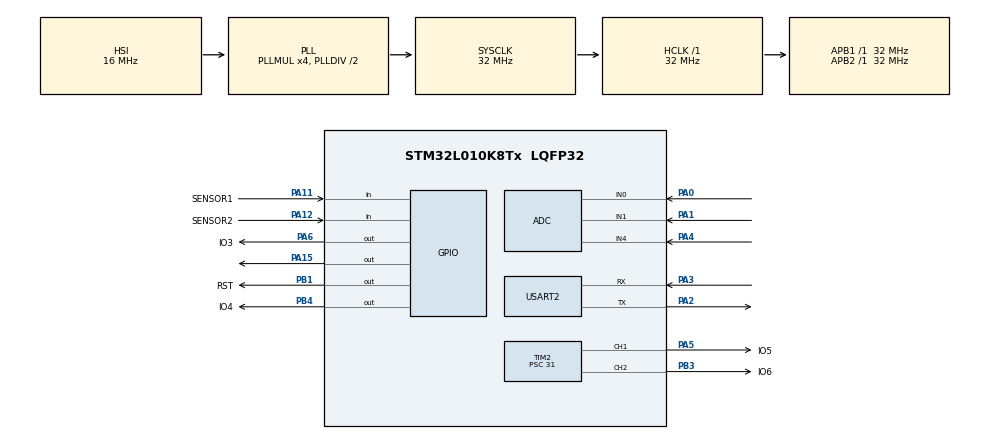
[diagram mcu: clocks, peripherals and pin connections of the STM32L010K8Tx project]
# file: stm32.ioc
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ADC.ContinuousConvMode=DISABLE
ADC.SamplingTime=ADC_SAMPLETIME_160CYCLES_5
Mcu.Family=STM32L0
Mcu.Name=STM32L010K8Tx
Mcu.Package=LQFP32
NVIC.RTC_IRQn=true\:0\:0\:false\:false\:true\:true\:true\:true
NVIC.USART2_IRQn=true\:0\:0\:false\:false\:true\:true\:true\:true
PA0.Mode=IN0
PA0.Signal=ADC_IN0
PA1.Mode=IN1
PA1.Signal=ADC_IN1
PA11.GPIO_Label=SENSOR1
PA11.GPIO_PuPd=GPIO_PULLDOWN
PA11.Signal=GPIO_Input
PA12.GPIO_Label=SENSOR2
PA12.GPIO_PuPd=GPIO_PULLDOWN
PA12.Signal=GPIO_Input
PA13.Mode=Serial_Wire
PA13.Signal=SYS_SWDIO
PA14.Mode=Serial_Wire
PA14.Signal=SYS_SWCLK
PA15.GPIO_PuPd=GPIO_PULLDOWN
PA15.Signal=GPIO_Output
PA2.Mode=Asynchronous
PA2.Signal=USART2_TX
PA3.Mode=Asynchronous
PA3.Signal=USART2_RX
PA4.Mode=IN4
PA4.Signal=ADC_IN4
PA5.GPIO_Label=IO5
PA5.GPIO_PuPd=GPIO_PULLDOWN
PA5.Signal=S_TIM2_CH1
PA6.GPIO_Label=IO3
PA6.GPIO_PuPd=GPIO_PULLDOWN
PA6.PinState=GPIO_PIN_RESET
PA6.Signal=GPIO_Output
PB0.Mode=VREFINT_ADC_PB0
PB0.Signal=SYS_VREF_OUT_PB0
PB1.GPIO_Label=RST
PB1.GPIO_PuPd=GPIO_PULLDOWN
PB1.Signal=GPIO_Output
PB3.GPIO_Label=IO6
PB3.GPIO_PuPd=GPIO_PULLDOWN
PB3.Signal=S_TIM2_CH2
PB4.GPIO_Label=IO4
PB4.GPIO_PuPd=GPIO_PULLDOWN
PB4.PinState=GPIO_PIN_RESET
PB4.Signal=GPIO_Output
PC14-OSC32_IN.Mode=LSE-External-Oscillator
PC14-OSC32_IN.Signal=RCC_OSC32_IN
PC15-OSC32_OUT.Mode=LSE-External-Oscillator
PC15-OSC32_OUT.Signal=RCC_OSC32_OUT
ProjectManager.HeapSize=0x200
ProjectManager.StackSize=0x400
ProjectManager.TargetToolchain=STM32CubeIDE
RCC.AHBFreq_Value=32000000
RCC.APB1Freq_Value=32000000
RCC.APB1TimFreq_Value=32000000
RCC.APB2Freq_Value=32000000
RCC.APB2TimFreq_Value=32000000
RCC.HCLKFreq_Value=32000000
RCC.HSI16_VALUE=16000000
RCC.HSI_VALUE=16000000
RCC.MSI_VALUE=2097000
RCC.PLLMUL=RCC_PLLMUL_4
RCC.SYSCLKFreq_VALUE=32000000
RCC.SYSCLKSource=RCC_SYSCLKSOURCE_PLLCLK
RCC.VCOOutputFreq_Value=64000000
RTC.WakeUpClock=RTC_WAKEUPCLOCK_CK_SPRE_16BITS
RTC.WakeUpCounter=0
SH.S_TIM2_CH1.0=TIM2_CH1,PWM Generation1 CH1
SH.S_TIM2_CH2.0=TIM2_CH2,PWM Generation2 CH2
TIM2.Channel-PWM\ Generation1\ CH1=TIM_CHANNEL_1
TIM2.Channel-PWM\ Generation2\ CH2=TIM_CHANNEL_2
TIM2.Period=999
TIM2.Prescaler=31
TIM2.Pulse-PWM\ Generation1\ CH1=900
TIM2.Pulse-PWM\ Generation2\ CH2=900
USART2.VirtualMode-Asynchronous=VM_ASYNC
VP_ADC_Vref_Input.Mode=IN-Vrefint
VP_RTC_VS_RTC_Activate.Mode=RTC_Enabled
VP_RTC_VS_RTC_WakeUp_intern.Mode=WakeUp
VP_SYS_VS_LPOM.Mode=PowerOptimisation
VP_TIM2_VS_ClockSourceINT.Mode=Internal
board=custom

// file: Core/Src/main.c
/* USER CODE BEGIN Header */
/**
  ******************************************************************************
  * @file           : main.c
  * @brief          : Main program body
  ******************************************************************************
  * @attention
  *
  * Copyright (c) 2025 STMicroelectronics.
  * All rights reserved.
  *
  * This software is licensed under terms that can be found in the LICENSE file
  * in the root directory of this software component.
  * If no LICENSE file comes with this software, it is provided AS-IS.
  *
  ******************************************************************************
  */
/* USER CODE END Header */
#include "main.h"
#include "adc.h"
#include "rtc.h"
#include "tim.h"
#include "usart.h"
#include "gpio.h"

/* USER CODE BEGIN Includes */
#include "adc_pressure.h"
#include "stdio.h"
#include "string.h"
#include "stdbool.h"
#include "stdlib.h"
/* USER CODE END Includes */

/* USER CODE BEGIN PD */
#define UART_BUFFER_SIZE 200
#define DC_MOTOR1_PWM_CHANNEL    TIM_CHANNEL_1
#define DC_MOTOR2_PWM_CHANNEL    TIM_CHANNEL_2
#define DC_MOTOR_MAX_RUN_TIME    300000
#define CURRENT_THRESHOLD        4.0f
#define NB_CHECK_WAKEUP_COUNT    1

/* USER CODE END PD */

/* USER CODE BEGIN PM */
typedef enum{
	Motor1,
	Motor2
} Motor;

typedef enum {
    MOTOR_STOP = 0,
    MOTOR_RUNNING
} Motor_State;

/* USER CODE END PM */

void SystemClock_Config(void);
/* USER CODE BEGIN PFP */
void Send_ATCommand(const char *command);
void Send_RawData(const char *data, uint16_t length);
void HAL_UART_RxCpltCallback(UART_HandleTypeDef *huart);

void Send_Wait_Start(const char* command, uint16_t timeout_ms);
void Send_Wait_Start_Raw(const char* data, uint16_t length, uint16_t timeout_ms);
bool Send_Wait_IsDone(void);

bool Publish_MQTT(const char *payload, uint16_t timeout_ms);

void Move_DCMotor(Motor motor, Motor_State state);
uint8_t Calibrate(Motor motor);
void Reset_NBModule(void);
bool Check_NB_Connection(void);
void Delay_Start(uint32_t ms);
bool Delay_Elapsed(void);

void RTC_Set_Wakeup_Timer(uint16_t seconds);
void Enter_Stop_Mode(void);
void HAL_RTCEx_WakeUpTimerEventCallback(RTC_HandleTypeDef *hrtc);
bool Check_Subscribe(void);
static void MQTT_Publish(const char* payload);
static bool lid_is_open = false;
/* USER CODE END PFP */

/* USER CODE BEGIN 0 */
uint8_t rx_buffer[1];
uint8_t tx_buffer[UART_BUFFER_SIZE] = {0};
uint8_t rx_buffer_full[UART_BUFFER_SIZE] = {0};
volatile uint8_t rx_index = 0;

float current_from_motor;
float current_value;
volatile uint8_t response_ready = 0;
char response_buffer[UART_BUFFER_SIZE];
volatile bool command_response_received = false;
volatile bool command_response_ok = false;

volatile uint8_t calibration_done = 0;

volatile bool open_lid = false;  // Open cap command
volatile bool close_lid = false;  // Close cap command
volatile bool stop_lid = false;  // Stop cap command

uint32_t last_nb_check_ms = 0;
volatile uint8_t connection_fail_count = 0;
uint8_t wakeup_counter = 0;

uint32_t delay_start = 0;
uint32_t delay_duration = 0;
bool delay_active = false;
const char *waiting_response = NULL;

static bool sendInProgress = false;
static uint32_t sendStartTick = 0;
static uint16_t sendTimeout = 0;
static const char* sendCommand = NULL;

static char mqtt_payload_water[128];
static char mqtt_payload_current[128];
static char mqtt_cmd[150];

volatile bool wakeup_event = false;

Motor_State Motor1_State = MOTOR_STOP;  // Motor1状态
Motor_State Motor2_State = MOTOR_STOP;  // Motor2状态

int water_level_threshold = 50;
volatile bool check_cmd_received = false;
volatile bool check_subscribe = false;

/* USER CODE END 0 */

int main(void)
{

  /* MCU Configuration--------------------------------------------------------*/

  /* Reset of all peripherals, Initializes the Flash interface and the Systick. */
  HAL_Init();

  /* Configure the system clock */
  SystemClock_Config();

  /* Initialize all configured peripherals */
  MX_GPIO_Init();
  MX_ADC_Init();
  MX_USART2_UART_Init();
  MX_TIM2_Init();
  MX_RTC_Init();
  /* USER CODE BEGIN 2 */
  ADC_Manual_Calibration();

  rx_buffer[0] = 0;
  memset(tx_buffer, 0, UART_BUFFER_SIZE);
  memset(rx_buffer_full, 0, UART_BUFFER_SIZE);

  HAL_UART_Receive_IT(&huart2, rx_buffer, 1);

  Send_Wait_Start("AT+QSCLK=0", 2000);
  while(!Send_Wait_IsDone()) {

   }

  Send_Wait_Start("AT+CPSMS=0", 2000);
  while(!Send_Wait_IsDone()) {

   }

  Send_Wait_Start("AT+CGDCONT=1,IP,quectelnb",2000);
  while(!Send_Wait_IsDone()) {

   }

  Send_Wait_Start("AT+QMTCFG=version,0,1",2000);
  while(!Send_Wait_IsDone()) {

   }

  Send_Wait_Start("AT+QMTOPEN=0,183.230.102.116,1883",2000);
  while(!Send_Wait_IsDone()) {

   }

  Send_Wait_Start("AT+QMTCONN=0,m002,I773FLY13q,version=2018-10-31&res=products%2FI773FLY13q%2Fdevices%2Fm002&et=1787896162&method=md5&sign=25YWkBFNMJ9Bag7ZrzuZxQ%3D%3D",3000);
  while(!Send_Wait_IsDone()) {

   }

  Send_Wait_Start("AT+QMTSUB=0,1,$sys/I773FLY13q/m002/#,0",2000);
  while(!Send_Wait_IsDone()) {

   }
  /* USER CODE END 2 */

  /* Infinite loop */
  while (1)
  {

    /* USER CODE BEGIN 3 */

	  HAL_GPIO_WritePin(IO3_GPIO_Port, IO3_Pin, GPIO_PIN_SET);
	  HAL_GPIO_WritePin(GPIOB, IO4_Pin, GPIO_PIN_SET);
	  HAL_Delay(100);

	  wakeup_counter++;
	  if(wakeup_counter >= NB_CHECK_WAKEUP_COUNT){

		  bool is_connected = Check_NB_Connection();
		  HAL_Delay(100);
		  bool is_subscribed = false;

		  if (is_connected)
		      {
			  	  HAL_Delay(100);
			  	  is_subscribed = Check_Subscribe();
			  	  HAL_Delay(100);
		      }

		  if (!is_connected || !is_subscribed)
		  {
		      Reset_NBModule();
		      HAL_Delay(100);
		  }
		      wakeup_counter = 0;
	  }

		if (open_lid) {
			open_lid = false;
			snprintf(mqtt_payload_current, sizeof(mqtt_payload_current), "{\"id\":\"123\",\"params\":{\"mnh\":{\"value\":\"open\"}}}");
			MQTT_Publish(mqtt_payload_current);

			uint8_t result = Calibrate(Motor2);
			if (result == 0) { lid_is_open = true; }
			if (result == 1){
				snprintf(mqtt_payload_current, sizeof(mqtt_payload_current), "{\"id\":\"123\",\"params\":{\"mnh\":{\"value\":\"overo\"}}}");
				MQTT_Publish(mqtt_payload_current);
			}
			if (result == 2){

				snprintf(mqtt_payload_current, sizeof(mqtt_payload_current), "{\"id\":\"123\",\"params\":{\"mnh\":{\"value\":\"timeo\"}}}");
				MQTT_Publish(mqtt_payload_current);
			}
			if (result == 3){

				snprintf(mqtt_payload_current, sizeof(mqtt_payload_current), "{\"id\":\"123\",\"params\":{\"mnh\":{\"value\":\"halto\"}}}");
				MQTT_Publish(mqtt_payload_current);
			}
		}

		if (close_lid) {
			close_lid = false;

			snprintf(mqtt_payload_current, sizeof(mqtt_payload_current), "{\"id\":\"123\",\"params\":{\"mnh\":{\"value\":\"close\"}}}");
			MQTT_Publish(mqtt_payload_current);

			uint8_t result = Calibrate(Motor1);

			if (result == 0) { lid_is_open = false; }  // <-- mark lid closed

			if (result == 1){

				snprintf(mqtt_payload_current, sizeof(mqtt_payload_current), "{\"id\":\"123\",\"params\":{\"mnh\":{\"value\":\"overc\"}}}");
				MQTT_Publish(mqtt_payload_current);
			}
			if (result == 2){

				snprintf(mqtt_payload_current, sizeof(mqtt_payload_current), "{\"id\":\"123\",\"params\":{\"mnh\":{\"value\":\"timec\"}}}");
				MQTT_Publish(mqtt_payload_current);
			}
			if (result == 3){

				snprintf(mqtt_payload_current, sizeof(mqtt_payload_current), "{\"id\":\"123\",\"params\":{\"mnh\":{\"value\":\"haltc\"}}}");
				MQTT_Publish(mqtt_payload_current);
			}
		}

		if( !open_lid && !close_lid )
		{
			int water_height_cm = (int)Get_Height_from_Pressure();//water level exceeding update
	    	if(water_height_cm > water_level_threshold && !lid_is_open){

	    		snprintf(mqtt_payload_water, sizeof(mqtt_payload_water), "{\"id\":\"123\",\"params\":{\"level\":{\"value\":%d}}}", water_height_cm);
	    		MQTT_Publish(mqtt_payload_water);

				snprintf(mqtt_payload_current, sizeof(mqtt_payload_current), "{\"id\":\"123\",\"params\":{\"mnh\":{\"value\":\"openw\"}}}");
				MQTT_Publish(mqtt_payload_current);

	    		uint8_t result = Calibrate(Motor2);

	            if (result == 0)
	            {
	                lid_is_open = true;  // <-- mark lid open on success
	            }
	    		if (result == 1){

					snprintf(mqtt_payload_current, sizeof(mqtt_payload_current), "{\"id\":\"123\",\"params\":{\"mnh\":{\"value\":\"overo\"}}}");
					MQTT_Publish(mqtt_payload_current);
	    		}
				if (result == 2){
					snprintf(mqtt_payload_current, sizeof(mqtt_payload_current), "{\"id\":\"123\",\"params\":{\"mnh\":{\"value\":\"timeo\"}}}");
					MQTT_Publish(mqtt_payload_current);

				}
				if (result == 3){
					snprintf(mqtt_payload_current, sizeof(mqtt_payload_current), "{\"id\":\"123\",\"params\":{\"mnh\":{\"value\":\"halto\"}}}");
					MQTT_Publish(mqtt_payload_current);
				}
			}

		}

 	        float battery_v = Get_Average_voltage(5); //Battery voltage update

	   	    snprintf(mqtt_payload_current, sizeof(mqtt_payload_current), "{\"id\":\"123\",\"params\":{\"battery\":{\"value\":%.1f}}}", battery_v);
	   	    MQTT_Publish(mqtt_payload_current);

	        uint32_t listen_timeout = 10000;
	        uint32_t listen_start = HAL_GetTick();
	        bool need_sleep = true;
	        while((HAL_GetTick() - listen_start) < listen_timeout)
	         {

	           if(open_lid || close_lid)
	           {
	             need_sleep = false;
	             break;
	           }
	           __WFI();
	         }

	      if (need_sleep)
	      {
		   	    snprintf(mqtt_payload_current, sizeof(mqtt_payload_current), "{\"id\":\"123\",\"params\":{\"mnh\":{\"value\":\"sleep\"}}}");
		   	    MQTT_Publish(mqtt_payload_current);

		        RTC_Set_Wakeup_Timer(330);
		        Enter_Stop_Mode();
	      }

	      HAL_Delay(100);
}

  /* USER CODE END 3 */
}

void SystemClock_Config(void)
{
  RCC_OscInitTypeDef RCC_OscInitStruct = {0};
  RCC_ClkInitTypeDef RCC_ClkInitStruct = {0};
  RCC_PeriphCLKInitTypeDef PeriphClkInit = {0};

  /** Configure the main internal regulator output voltage
  */
  __HAL_PWR_VOLTAGESCALING_CONFIG(PWR_REGULATOR_VOLTAGE_SCALE1);

  /** Initializes the RCC Oscillators according to the specified parameters
  * in the RCC_OscInitTypeDef structure.
  */
  RCC_OscInitStruct.OscillatorType = RCC_OSCILLATORTYPE_HSI|RCC_OSCILLATORTYPE_LSI;
  RCC_OscInitStruct.HSIState = RCC_HSI_ON;
  RCC_OscInitStruct.HSICalibrationValue = RCC_HSICALIBRATION_DEFAULT;
  RCC_OscInitStruct.LSIState = RCC_LSI_ON;
  RCC_OscInitStruct.PLL.PLLState = RCC_PLL_ON;
  RCC_OscInitStruct.PLL.PLLSource = RCC_PLLSOURCE_HSI;
  RCC_OscInitStruct.PLL.PLLMUL = RCC_PLLMUL_4;
  RCC_OscInitStruct.PLL.PLLDIV = RCC_PLLDIV_2;
  if (HAL_RCC_OscConfig(&RCC_OscInitStruct) != HAL_OK)
  {
    Error_Handler();
  }

  /** Initializes the CPU, AHB and APB buses clocks
  */
  RCC_ClkInitStruct.ClockType = RCC_CLOCKTYPE_HCLK|RCC_CLOCKTYPE_SYSCLK
                              |RCC_CLOCKTYPE_PCLK1|RCC_CLOCKTYPE_PCLK2;
  RCC_ClkInitStruct.SYSCLKSource = RCC_SYSCLKSOURCE_PLLCLK;
  RCC_ClkInitStruct.AHBCLKDivider = RCC_SYSCLK_DIV1;
  RCC_ClkInitStruct.APB1CLKDivider = RCC_HCLK_DIV1;
  RCC_ClkInitStruct.APB2CLKDivider = RCC_HCLK_DIV1;

  if (HAL_RCC_ClockConfig(&RCC_ClkInitStruct, FLASH_LATENCY_1) != HAL_OK)
  {
    Error_Handler();
  }
  PeriphClkInit.PeriphClockSelection = RCC_PERIPHCLK_USART2|RCC_PERIPHCLK_RTC;
  PeriphClkInit.Usart2ClockSelection = RCC_USART2CLKSOURCE_PCLK1;
  PeriphClkInit.RTCClockSelection = RCC_RTCCLKSOURCE_LSI;
  if (HAL_RCCEx_PeriphCLKConfig(&PeriphClkInit) != HAL_OK)
  {
    Error_Handler();
  }
}

/* USER CODE BEGIN 4 */
// Add this helper in USER CODE 4 section
static void MQTT_Publish(const char* payload)
{
    int payload_len = (int)strlen(payload);
    snprintf(mqtt_cmd, sizeof(mqtt_cmd),
             "AT+QMTPUB=0,0,0,0,$sys/I773FLY13q/m002/thing/property/post,%d",
             payload_len);
    Send_Wait_Start(mqtt_cmd, 1000);
    while (!Send_Wait_IsDone()) {}
    Send_Wait_Start(payload, 1000);
    while (!Send_Wait_IsDone()) {}
}

void RTC_Set_Wakeup_Timer(uint16_t seconds)
{
    // Disable write protection
    HAL_RTCEx_DeactivateWakeUpTimer(&hrtc);

    // L0 series usually uses a 1Hz clock for the wakeup timer if configured with CK_SPRE
    // 0x0000 is the value for 16-bit counter.
    // Ensure CubeMX RTC WakeUp Clock is set to: RTC_WAKEUPCLOCK_CK_SPRE_16BITS

    if (HAL_RTCEx_SetWakeUpTimer_IT(&hrtc, seconds, RTC_WAKEUPCLOCK_CK_SPRE_16BITS) != HAL_OK)
    {
        Error_Handler();
    }
}

void Enter_Stop_Mode(void)
{

    HAL_GPIO_WritePin(IO3_GPIO_Port, IO3_Pin, GPIO_PIN_RESET);
    /*Configure GPIO pin Output Level */
    HAL_GPIO_WritePin(GPIOB, IO4_Pin, GPIO_PIN_RESET);
    HAL_ADC_Stop(&hadc);
    // 1. Suspend SysTick to prevent it from waking the MCU every 1ms
    HAL_SuspendTick();

    // 2. Enter Stop Mode
    // Regulator Low Power implies deeper sleep but slower wake-up
    HAL_PWR_EnterSTOPMode(PWR_LOWPOWERREGULATOR_ON, PWR_STOPENTRY_WFI);

    SystemClock_Config();

    MX_GPIO_Init();

    MX_ADC_Init();
    MX_USART2_UART_Init();
    MX_TIM2_Init();

    HAL_ResumeTick();

    HAL_UART_Receive_IT(&huart2, rx_buffer, 1);
}

// RTC Interrupt Callback
void HAL_RTCEx_WakeUpTimerEventCallback(RTC_HandleTypeDef *hrtc)
{
    // This function is called when the timer expires
    wakeup_event = true;
}

void Delay_Start(uint32_t ms) {
    delay_start = HAL_GetTick();
    delay_duration = ms;
    delay_active = true;
}

// Check if delay has elapsed
bool Delay_Elapsed(void) {
    if (!delay_active) return true;
    if ((HAL_GetTick() - delay_start) >= delay_duration) {
        delay_active = false;
        return true;
    }
    return false;
}

bool Check_NB_Connection(void)
{
	__disable_irq();
	memset(rx_buffer_full, 0, UART_BUFFER_SIZE);
	rx_index = 0;
	__enable_irq();
	check_cmd_received = false;
	// Check network attach status
	Send_Wait_Start("AT+CGATT?", 2000);
    while(!Send_Wait_IsDone()) {
    }

    bool result = check_cmd_received;
    memset(rx_buffer_full, 0, UART_BUFFER_SIZE);
    rx_index = 0;
    check_cmd_received = false;

   	return result;
}

bool Check_Subscribe(void)
{

	__disable_irq();
	memset(rx_buffer_full, 0, UART_BUFFER_SIZE);
	rx_index = 0;
	__enable_irq();
	check_subscribe = false;

    Send_Wait_Start("AT+QMTSUB=0,1,$sys/I773FLY13q/m002/#,0", 2000);
    while(!Send_Wait_IsDone()) {
    }

	bool result = check_subscribe;
	memset(rx_buffer_full, 0, UART_BUFFER_SIZE);
	rx_index = 0;
	check_subscribe = false;

	return result;

}

void Reset_NBModule(void)
{

	HAL_GPIO_WritePin(GPIOB, GPIO_PIN_1, GPIO_PIN_SET);
    HAL_Delay(500);

    HAL_GPIO_WritePin(GPIOB, GPIO_PIN_1, GPIO_PIN_RESET);
    HAL_Delay(500);

	  rx_buffer[0] = 0;
	  memset(tx_buffer, 0, UART_BUFFER_SIZE);

	  __disable_irq();
	  memset(rx_buffer_full, 0, UART_BUFFER_SIZE);
	  rx_index = 0;
	  __enable_irq();

	  HAL_UART_Receive_IT(&huart2, rx_buffer, 1);

	  Send_Wait_Start("AT+QSCLK=0", 2000);
	    while(!Send_Wait_IsDone()) {

	     }

	    Send_Wait_Start("AT+CPSMS=0", 2000);
	    while(!Send_Wait_IsDone()) {

	     }

	    Send_Wait_Start("AT+CGDCONT=1,IP,quectelnb",2000);
	    while(!Send_Wait_IsDone()) {

	     }

	    Send_Wait_Start("AT+QMTCFG=version,0,1",2000);
	    while(!Send_Wait_IsDone()) {

	     }

	    Send_Wait_Start("AT+QMTOPEN=0,183.230.102.116,1883",2000);
	    while(!Send_Wait_IsDone()) {

	     }

	    Send_Wait_Start("AT+QMTCONN=0,m002,I773FLY13q,version=2018-10-31&res=products%2FI773FLY13q%2Fdevices%2Fm002&et=1787896162&method=md5&sign=25YWkBFNMJ9Bag7ZrzuZxQ%3D%3D",3000);
	    while(!Send_Wait_IsDone()) {

	     }

	    Send_Wait_Start("AT+QMTSUB=0,1,$sys/I773FLY13q/m002/#,0",2000);
	    while(!Send_Wait_IsDone()) {

	     }

}

void Move_DCMotor(Motor motor, Motor_State state)
{

	switch (motor)
	{
	case Motor1:
        if (state == MOTOR_RUNNING)
        {

            HAL_TIM_PWM_Start(&htim2, DC_MOTOR1_PWM_CHANNEL);
            Motor1_State = MOTOR_RUNNING;
        }
        else
        {

        	HAL_TIM_PWM_Stop(&htim2, DC_MOTOR1_PWM_CHANNEL);
            Motor1_State = MOTOR_STOP;
        }
        break;

	case Motor2:
		if (state == MOTOR_RUNNING)
		{
		   HAL_TIM_PWM_Start(&htim2, DC_MOTOR2_PWM_CHANNEL);
		   Motor2_State = MOTOR_RUNNING;
		}
		else
		{
			HAL_TIM_PWM_Stop(&htim2, DC_MOTOR2_PWM_CHANNEL);
		     Motor2_State = MOTOR_STOP;
		}
		break;

	default:
		break;
	}
}

uint8_t Calibrate(Motor motor)
{
    GPIO_PinState sensor_state;
	calibration_done = 0;
    GPIO_TypeDef* sensor_port = GPIOA;
    uint16_t sensor_pin = (motor == Motor1) ? GPIO_PIN_11 : GPIO_PIN_12;
    uint32_t start_time = HAL_GetTick();
    stop_lid = false;

    while (!calibration_done)
    {
    	sensor_state = HAL_GPIO_ReadPin(sensor_port, sensor_pin);
    	if (sensor_state == GPIO_PIN_RESET)
    	    {
    	      Move_DCMotor(motor, MOTOR_STOP);
    	      calibration_done = 1;
    	      return 0;
    	    }
    	else {
    	    	Move_DCMotor(motor, MOTOR_RUNNING);

    			current_from_motor = Get_Average_Current(10);
    			if (current_from_motor >= CURRENT_THRESHOLD)
    	        {
    				Move_DCMotor(motor, MOTOR_STOP);
    	            calibration_done = 1;
    	            return 1;
    	        }

    	        if ((HAL_GetTick() - start_time) > DC_MOTOR_MAX_RUN_TIME)
               {
    	        	Move_DCMotor(motor, MOTOR_STOP);
    	        	calibration_done = 1;
    	        	return 2;  //timeout
               }

    		}

    	if (stop_lid == true){
			Move_DCMotor(motor, MOTOR_STOP);
            calibration_done = 1;
            stop_lid = false;
            return 3;
    	}

        HAL_Delay(10);
    }
    return 0;
}

void HAL_UART_RxCpltCallback(UART_HandleTypeDef *huart) {
    if (huart->Instance == USART2) {
       uint8_t received_char = rx_buffer[0];

        // Append received byte to buffer with overflow check
        if (rx_index < UART_BUFFER_SIZE - 1) {
            rx_buffer_full[rx_index++] = received_char;
        } else {
        	__disable_irq();
        	memset(rx_buffer_full, 0, UART_BUFFER_SIZE);
        	rx_index = 0;
        	__enable_irq();

        }

        if (received_char == '\n' ) {
            rx_buffer_full[rx_index] = '\0';  // Null-terminate string

         if (strstr((char*)rx_buffer_full, "QMTSUB: 0,1,0") != NULL) {
         	 check_subscribe = true;
         }

      	 if (strstr((char*)rx_buffer_full, "CGATT: 1") != NULL) {
      	     check_cmd_received = true;
      	 }

   	     if (strstr((char*)rx_buffer_full, "\"temp\":\"open\"") != NULL) {
   	         open_lid = true;
   	     } else if (strstr((char*)rx_buffer_full, "\"temp\":\"close\"") != NULL) {
   	         close_lid = true;
   	     } else if (strstr((char*)rx_buffer_full, "\"temp\":\"halt\"") != NULL){
   	    	 stop_lid = true;
   	     }

         char *level_ptr = NULL;
         level_ptr = strstr((char*)rx_buffer_full, "\"level\":");
         if (level_ptr != NULL) {
        	 level_ptr += 8;
        	 int new_level = atoi(level_ptr);

           if (new_level >= 0 && new_level <= 100) {
             water_level_threshold = new_level;
           }

         }
         __disable_irq();
         memset(rx_buffer_full, 0, UART_BUFFER_SIZE);
         rx_index = 0;
         __enable_irq();
        }

        // Rearm UART receive interrupt for next byte to keep receiving continuously
        HAL_UART_Receive_IT(&huart2, rx_buffer, 1);
    }
}

void Send_mqtt(const char *command) {

    snprintf((char*)tx_buffer, UART_BUFFER_SIZE, "%s\r\n", command);  // Add CRLF to the command
    HAL_UART_Transmit(&huart2, tx_buffer, strlen((char*)tx_buffer), 500);  // Send command
}

void Send_Wait_Start(const char* command, uint16_t timeout_ms) {
    Send_mqtt(command);
    sendCommand = command;
    sendTimeout = timeout_ms;
    sendStartTick = HAL_GetTick();
    sendInProgress = true;
}

bool Send_Wait_IsDone(void) {
    if (!sendInProgress) return true;

    uint32_t send_now = HAL_GetTick();
    if ((send_now - sendStartTick) >= sendTimeout) {
        sendInProgress = false;
        return true;  // timeout elapsed, assume send done
    }
    return false;  // still waiting
}

/* USER CODE END 4 */

void Error_Handler(void)
{
  __disable_irq();
  while (1)
  {
  }
}
